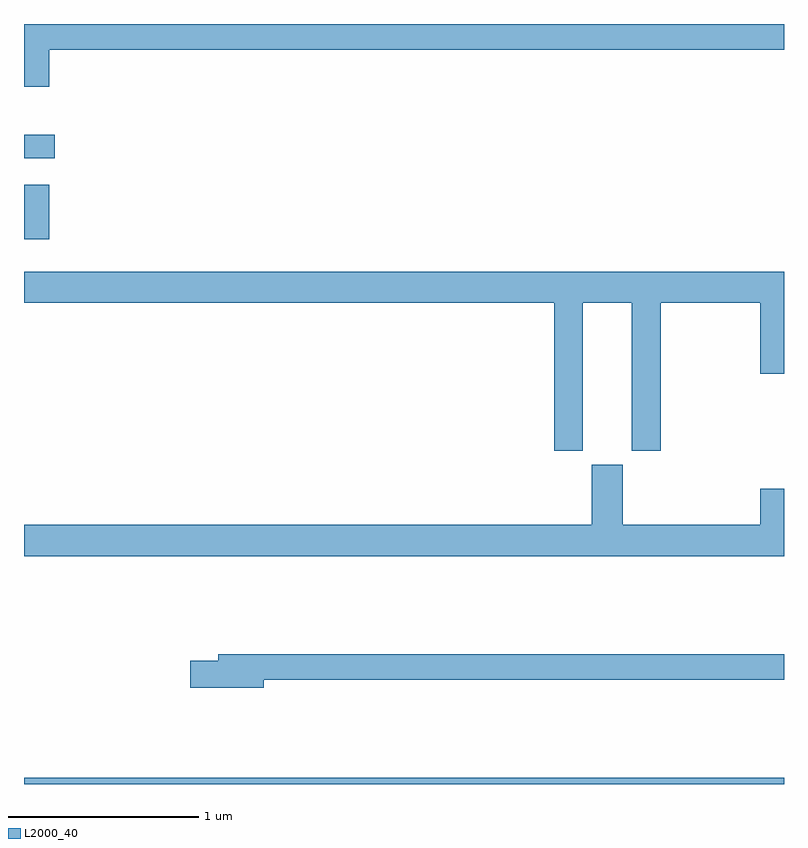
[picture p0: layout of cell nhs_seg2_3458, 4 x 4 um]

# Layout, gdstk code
import gdstk
lib = gdstk.Library(unit=1e-6, precision=1e-09)
def R(c, l, rs):  # rectangles x0, y0, x1, y1
    for r in rs: c.add(gdstk.rectangle(r[:2], r[2:], *l))
def P(c, l, *ps):  # polygons
    for p in ps: c.add(gdstk.Polygon(p, *l))
L2000_40 = (2000, 40)

nhs_seg2_3458 = lib.new_cell('nhs_seg2_3458')
R(nhs_seg2_3458, L2000_40, [(293,615.8,297,615.832), (293,618.666,293.132,618.955), (293,619.094,293.161,619.216)])
P(nhs_seg2_3458, L2000_40, [(293.132,619.664),(297,619.664),(297,619.8),(293,619.8),(293,619.47),(293.132,619.47)],
  [(295.942,618.332),(296.198,618.332),(296.198,617.553),(296.351,617.553),(296.351,618.332),(296.876,618.332),(296.876,617.958),(297,617.958),(297,618.496),(293,618.496),(293,618.332),(295.79,618.332),(295.79,617.553),(295.942,617.553)],
  [(297,617.353),(296.876,617.353),(296.876,617.164),(296.152,617.164),(296.152,617.481),(295.988,617.481),(295.988,617.164),(293,617.164),(293,617),(297,617)],
  [(294.262,616.348),(297,616.348),(297,616.484),(294.023,616.484),(294.023,616.448),(293.874,616.448),(293.874,616.306),(294.262,616.306)])

lib.write_gds('nhs_seg2_3458.gds')
